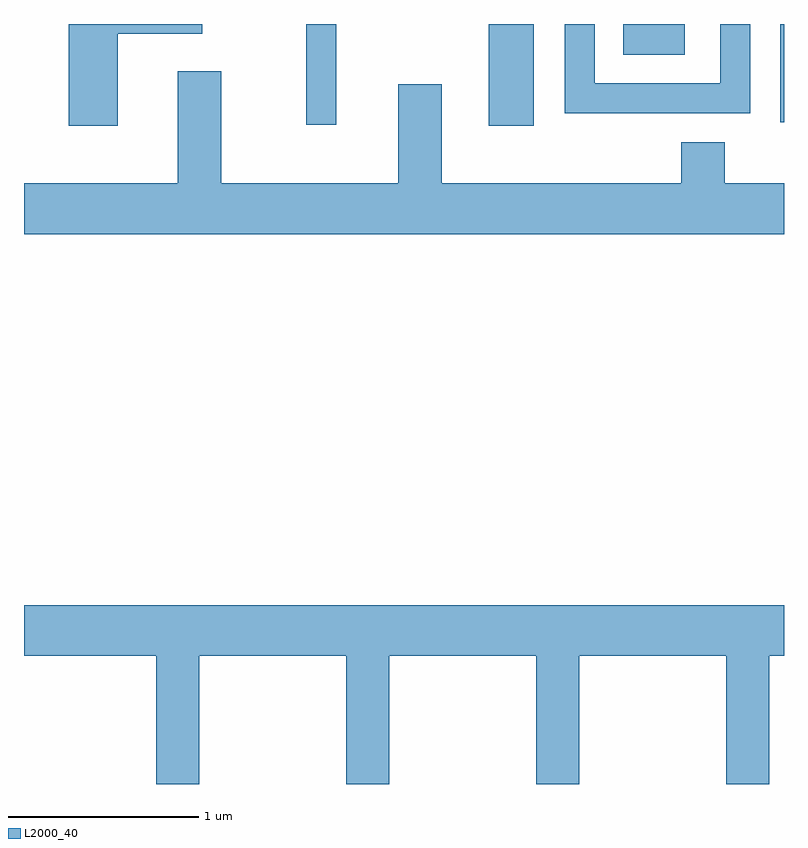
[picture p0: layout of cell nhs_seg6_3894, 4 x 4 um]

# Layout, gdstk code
import gdstk
lib = gdstk.Library(unit=1e-6, precision=1e-09)
def R(c, l, rs):  # rectangles x0, y0, x1, y1
    for r in rs: c.add(gdstk.rectangle(r[:2], r[2:], *l))
def P(c, l, *ps):  # polygons
    for p in ps: c.add(gdstk.Polygon(p, *l))
L2000_40 = (2000, 40)

nhs_seg6_3894 = lib.new_cell('nhs_seg6_3894')
R(nhs_seg6_3894, L2000_40, [(304.056,1641.626,304.294,1642.162), (303.096,1641.633,303.254,1642.162), (305.591,1641.646,305.611,1642.162), (304.766,1642.001,305.089,1642.162)])
P(nhs_seg6_3894, L2000_40, [(305.434,1642.162),(305.276,1642.162),(305.276,1641.849),(304.614,1641.849),(304.614,1642.162),(304.456,1642.162),(304.456,1641.691),(305.434,1641.691)],
  [(302.104,1642.111),(302.548,1642.111),(302.548,1642.162),(301.846,1642.162),(301.846,1641.626),(302.104,1641.626)],
  [(305.611,1641.324),(305.299,1641.324),(305.299,1641.539),(305.071,1641.539),(305.071,1641.324),(303.809,1641.324),(303.809,1641.844),(303.581,1641.844),(303.581,1641.324),(302.649,1641.324),(302.649,1641.914),(302.421,1641.914),(302.421,1641.324),(301.611,1641.324),(301.611,1641.056),(305.611,1641.056)],
  [(302.534,1638.836),(303.306,1638.836),(303.306,1638.162),(303.534,1638.162),(303.534,1638.836),(304.306,1638.836),(304.306,1638.162),(304.534,1638.162),(304.534,1638.836),(305.306,1638.836),(305.306,1638.162),(305.534,1638.162),(305.534,1638.836),(305.611,1638.836),(305.611,1639.104),(301.611,1639.104),(301.611,1638.836),(302.306,1638.836),(302.306,1638.162),(302.534,1638.162)])

lib.write_gds('nhs_seg6_3894.gds')
